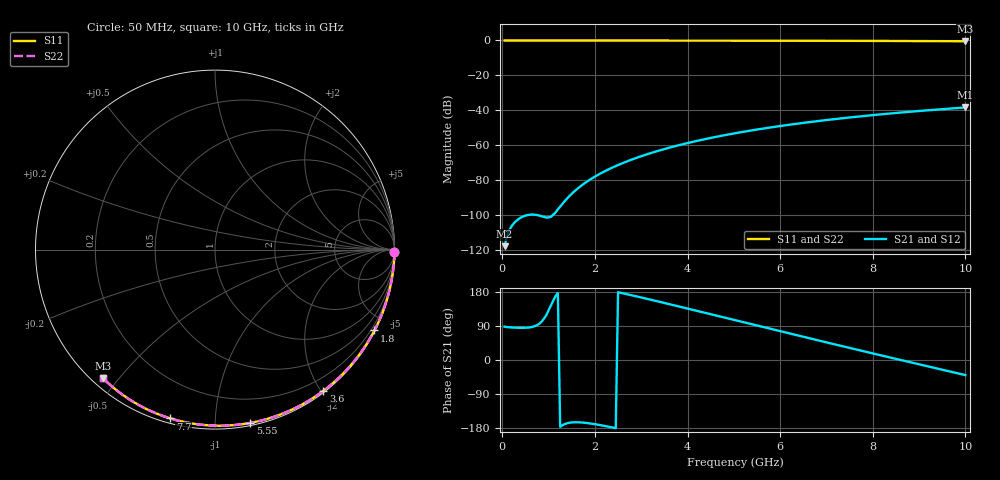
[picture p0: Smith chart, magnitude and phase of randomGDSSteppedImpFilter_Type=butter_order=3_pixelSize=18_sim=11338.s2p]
! freq	dB(S11)	phase(S11)	dB(S12)	phase(S12)
!  dB(S21)	phase(S21)	dB(S22)	phase(S22)
!S-par simulation data
#  GHz  S  DB  R 50
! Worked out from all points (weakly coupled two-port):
!   200 points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, 50 MHz to 10 GHz, reference 50 ohm
!   highest |S21| = -38.47 dB at 10 GHz (marker M1); lowest = -118.1 dB at 50 MHz (marker M2)
!   lowest |S11| = -0.4 dB at 10 GHz (marker M3), VSWR 39.15, Z = 1.54 - j22.7 ohm
!   |S11| at or under -10 dB: nowhere
!   |S22| runs from -0.4 to 0.0 dB; largest |S21 - S12| = 0
!   S11 on the Smith chart (normalised r, x): 50 MHz: open; 1.8 GHz: 0.04, -4.19; 3.6 GHz: 0.02, -2.03; 5.55 GHz: 0.02, -1.22; 7.7 GHz: 0.02, -0.77; 10 GHz: 0.03, -0.45
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0.05  -0.00 -0.8  -118.05 88.0  -118.05 88.0  -0.00 -0.8
0.45  -0.01 -6.8  -101.02 84.8  -101.02 84.8  -0.01 -6.8
0.9  -0.02 -13.6  -101.32 109.3  -101.32 109.3  -0.02 -13.6
1.75  -0.03 -26.1  -82.45 -165.3  -82.45 -165.3  -0.03 -26.1
1.8  -0.03 -26.9  -81.51 -165.9  -81.51 -165.9  -0.03 -26.9
1.9  -0.04 -28.3  -79.75 -167.5  -79.75 -167.5  -0.04 -28.3
2.05  -0.04 -30.5  -77.36 -170.4  -77.36 -170.4  -0.04 -30.5
2.25  -0.04 -33.4  -74.55 -174.9  -74.55 -174.9  -0.04 -33.4
2.45  -0.05 -36.3  -72.06 -179.9  -72.06 -179.9  -0.05 -36.3
2.65  -0.05 -39.2  -69.84 174.8  -69.84 174.8  -0.05 -39.2
3  -0.06 -44.2  -66.42 165.0  -66.42 165.0  -0.06 -44.2
3.4  -0.07 -49.8  -63.08 153.5  -63.08 153.5  -0.07 -49.8
3.6  -0.07 -52.5  -61.58 147.6  -61.58 147.6  -0.07 -52.5
4.3  -0.09 -62.1  -57.07 126.8  -57.07 126.8  -0.09 -62.1
5.05  -0.11 -72.0  -53.14 104.4  -53.14 104.4  -0.11 -72.0
5.55  -0.13 -78.5  -50.91 89.4  -50.91 89.4  -0.13 -78.5
6.1  -0.15 -85.4  -48.73 73.0  -48.73 73.0  -0.15 -85.4
6.7  -0.18 -92.9  -46.63 55.3  -46.63 55.3  -0.18 -92.9
7.7  -0.24 -104.8  -43.64 26.0  -43.64 26.0  -0.24 -104.8
8.35  -0.29 -112.4  -41.97 7.2  -41.97 7.2  -0.29 -112.4
9.15  -0.36 -121.6  -40.16 -15.7  -40.16 -15.7  -0.36 -121.6
10  -0.44 -131.1  -38.47 -39.9  -38.47 -39.9  -0.44 -131.1
